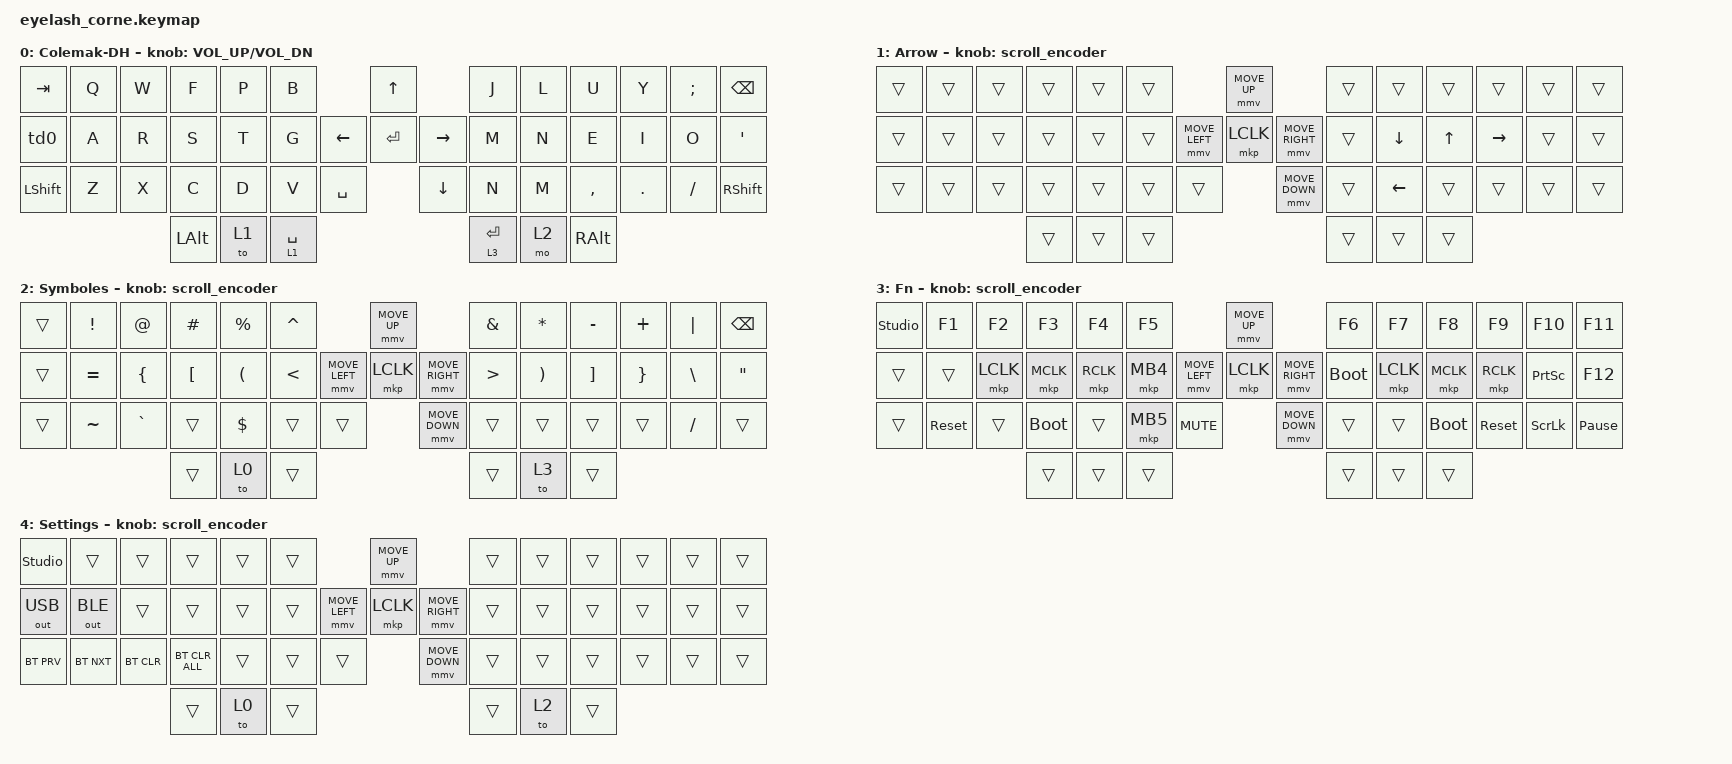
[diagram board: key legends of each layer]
#define ZMK_POINTING_DEFAULT_MOVE_VAL 1200  // 600
#define ZMK_POINTING_DEFAULT_SCRL_VAL 25   // 10

#include <input/processors.dtsi>
#include <zephyr/dt-bindings/input/input-event-codes.h>
#include <behaviors.dtsi>
#include <dt-bindings/zmk/bt.h>
#include <dt-bindings/zmk/keys.h>
#include <dt-bindings/zmk/outputs.h>
#include <dt-bindings/zmk/pointing.h>
#include <dt-bindings/zmk/rgb.h>

#define ___ &trans
#define CTRL_ESC &ht_tp LEFT_CONTROL ESC
#define SPACE_1 &mod_tp 1 SPACE

&mmv_input_listener { input-processors = <&zip_xy_scaler 2 1>; };

&msc_input_listener { input-processors = <&zip_scroll_scaler 2 1>; };

&msc {
    acceleration-exponent = <1>;      // 0
    time-to-max-speed-ms = <100>;       // 300
    delay-ms = <0>;                   // 0
};

&mmv {
    time-to-max-speed-ms = <500>;
    acceleration-exponent = <1>;
    trigger-period-ms = <16>;
};

&soft_off { hold-time-ms = <2000>; };

/ {
    behaviors {
        ht_tp: hold_tap_tap_preferred {
            compatible = "zmk,behavior-hold-tap";
            #binding-cells = <2>;
            tapping-term-ms = <500>;
            flavor = "tap-preferred";
            bindings = <&kp>, <&kp>;
        };

        mod_tp: mod_tap_tap_preferred {
            compatible = "zmk,behavior-hold-tap";
            #binding-cells = <2>;
            tapping-term-ms = <500>;
            flavor = "tap-preferred";
            bindings = <&mo>, <&kp>;
        };

        td0: td0 {
            compatible = "zmk,behavior-tap-dance";
            display-name = "Shift/Caps Lock Tap Dance";
            #binding-cells = <0>;
            bindings = <&kp LEFT_SHIFT>, <&kp CAPS>;
        };
    };

    rgb_encoder: rgb_encoder {
        compatible = "zmk,behavior-sensor-rotate";
        #sensor-binding-cells = <0>;
        bindings = <&rgb_ug RGB_BRI>, <&rgb_ug RGB_BRD>;
    };

    scroll_encoder: scroll_encoder {
        compatible = "zmk,behavior-sensor-rotate";
        #sensor-binding-cells = <0>;
        bindings = <&msc SCRL_DOWN>, <&msc SCRL_UP>;
        tap-ms = <100>;
    };

    combos {
        compatible = "zmk,combos";
        softoff {
            bindings = <&soft_off>;
            key-positions = <1 15 29>;
        };
    };

    keymap {
        compatible = "zmk,keymap";

        default_layer {
            display-name = "Colemak-DH";
            bindings = <
&kp TAB    &kp Q  &kp W  &kp F         &kp P  &kp B                               &kp UP                &kp J        &kp L  &kp U      &kp Y    &kp SEMI  &kp BSPC
&td0       &kp A  &kp R  &kp S         &kp T  &kp G                     &kp LEFT  &kp ENTER  &kp RIGHT  &kp M        &kp N  &kp E      &kp I    &kp O     &kp SQT
&kp LSHIFT &kp Z  &kp X  &kp C         &kp D  &kp V        &kp SPACE              &kp DOWN              &kp N        &kp M  &kp COMMA  &kp DOT  &kp FSLH  &kp RSHIFT
                         &kp LEFT_ALT  &to 1  SPACE_1                                               &lt 3 ENTER  &mo 2  &kp RALT
            >;
            sensor-bindings = <&inc_dec_kp C_VOLUME_UP C_VOL_DN>;
        };

        nav_layer {
            display-name = "Arrow";
            bindings = <
___  ___  ___  ___  ___  ___                    &mmv MOVE_UP                     ___  ___           ___         ___        ___  ___
___  ___  ___  ___  ___  ___    &mmv MOVE_LEFT  &mkp LCLK       &mmv MOVE_RIGHT  ___  &kp DOWN      &kp UP      &kp RIGHT  ___  ___
___  ___  ___  ___  ___  ___ ___                &mmv MOVE_DOWN                   ___  &kp LEFT      ___         ___        ___  ___
               ___  ___  ___                                                     ___  ___           ___
            >;
            sensor-bindings = <&scroll_encoder>;
        };

        symbol_layer {
            display-name = "Symboles";
            bindings = <
___  &kp EXCL   &kp AT         &kp HASH          &kp PERCENT          &kp CARET                    &mmv MOVE_UP                     &kp AMPERSAND    &kp STAR              &kp MINUS         &kp PLUS        &kp PIPE      &kp BSPC
___  &kp EQUAL  &kp LEFT_BRACE &kp LEFT_BRACKET  &kp LEFT_PARENTHESIS &kp LESS_THAN  &mmv MOVE_LEFT &mkp LCLK       &mmv MOVE_RIGHT  &kp GREATER_THAN &kp RIGHT_PARENTHESIS &kp RIGHT_BRACKET &kp RIGHT_BRACE &kp BACKSLASH &kp DOUBLE_QUOTES
___  &kp TILDE  &kp GRAVE      ___               &kp DOLLAR           ___           ___            &mmv MOVE_DOWN                   ___              ___                   ___               ___             &kp SLASH     ___
                               ___               &to 0                ___                                                           ___              &to 3                 ___
            >;
            sensor-bindings = <&scroll_encoder>;
        };

        layer_3 {
            display-name = "Fn";
            bindings = <
&studio_unlock  &kp F1      &kp F2     &kp F3       &kp F4     &kp F5                                  &mmv MOVE_UP                     &kp F6       &kp F7     &kp F8       &kp F9      &kp F10          &kp F11
&trans          &trans      &mkp LCLK  &mkp MCLK    &mkp RCLK  &mkp MB4                &mmv MOVE_LEFT  &mkp LCLK       &mmv MOVE_RIGHT  &bootloader  &mkp LCLK  &mkp MCLK    &mkp RCLK   &kp PRINTSCREEN  &kp F12
&trans          &sys_reset  &trans     &bootloader  &trans     &mkp MB5  &kp C_MUTE                    &mmv MOVE_DOWN                   &trans       &trans     &bootloader  &sys_reset  &kp SCROLLLOCK   &kp PAUSE_BREAK
                                       &trans       &trans     &trans                                                                   &trans       &trans     &trans
            >;
            sensor-bindings = <&scroll_encoder>;
        };

        settings_layer {
            display-name = "Settings";
            bindings = <
&studio_unlock ___          ___           ___           ___  ___                    &mmv MOVE_UP                     ___  ___  ___  ___  ___  ___
&out OUT_USB   &out OUT_BLE  ___           ___           ___  ___    &mmv MOVE_LEFT  &mkp LCLK       &mmv MOVE_RIGHT  ___  ___  ___  ___  ___  ___
&bt BT_PRV     &bt BT_NXT    &bt BT_CLR    &bt BT_CLR_ALL ___  ___ ___                &mmv MOVE_DOWN                   ___  ___  ___  ___  ___  ___
                             ___           &to 0         ___                                                     ___  &to 2  ___
            >;
            sensor-bindings = <&scroll_encoder>;
        };
    };
};
